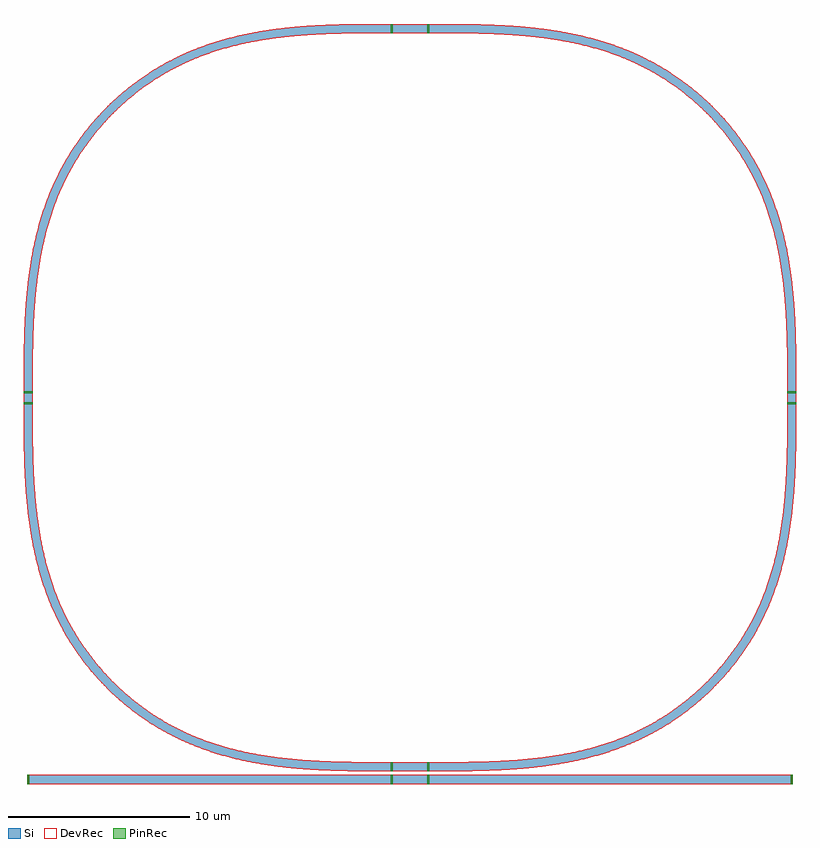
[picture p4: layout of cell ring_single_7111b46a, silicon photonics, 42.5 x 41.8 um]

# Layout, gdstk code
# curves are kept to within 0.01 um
from math import pi, radians
import gdstk
lib = gdstk.Library(unit=1e-6, precision=1e-09)
def R(c, l, rs):  # rectangles x0, y0, x1, y1
    for r in rs: c.add(gdstk.rectangle(r[:2], r[2:], *l))
def P(c, l, *ps):  # polygons
    for p in ps: c.add(gdstk.Polygon(p, *l))
Si = (1, 0)
PinRec = (1, 10)
DevRec = (68, 0)

bend_euler_d8d11220 = lib.new_cell('bend_euler_d8d11220')
P(bend_euler_d8d11220, Si, [(0,-0.25),(2.054,-0.241),(3.364,-0.21),(4.675,-0.142),(5.612,-0.063),(6.639,0.06),(7.663,0.228),(8.678,0.447),(9.499,0.669),(10.398,0.965),(11.193,1.279),(11.974,1.643),(12.731,2.052),(13.542,2.56),(14.241,3.061),(14.909,3.604),(15.68,4.32),(16.396,5.091),(16.939,5.759),(17.44,6.458),(17.948,7.269),(18.357,8.026),(18.721,8.807),(19.035,9.602),(19.331,10.501),(19.553,11.322),(19.772,12.337),(19.94,13.361),(20.063,14.388),(20.142,15.325),(20.21,16.636),(20.241,17.946),(20.25,20),(19.75,20),(19.74,17.86),(19.707,16.561),(19.643,15.359),(19.556,14.346),(19.445,13.43),(19.246,12.249),(19.045,11.352),(18.771,10.38),(18.469,9.514),(18.225,8.919),(17.784,8.005),(17.374,7.282),(16.974,6.661),(16.485,5.989),(15.957,5.348),(15.391,4.739),(14.859,4.228),(14.156,3.629),(13.491,3.131),(12.797,2.674),(11.995,2.216),(11.333,1.889),(10.571,1.564),(9.795,1.285),(8.915,1.024),(7.751,0.754),(6.57,0.555),(5.654,0.444),(4.641,0.357),(3.439,0.293),(2.14,0.26),(0,0.25)])
R(bend_euler_d8d11220, PinRec, [(-0.05,-0.25,0.05,0.25), (19.75,19.95,20.25,20.05)])
P(bend_euler_d8d11220, DevRec, [(0,-0.25),(2.054,-0.241),(3.364,-0.21),(4.675,-0.142),(5.612,-0.063),(6.639,0.06),(7.663,0.228),(8.678,0.447),(9.499,0.669),(10.398,0.965),(11.193,1.279),(11.974,1.643),(12.731,2.052),(13.542,2.56),(14.241,3.061),(14.909,3.604),(15.68,4.32),(16.396,5.091),(16.939,5.759),(17.44,6.458),(17.948,7.269),(18.357,8.026),(18.721,8.807),(19.035,9.602),(19.331,10.501),(19.553,11.322),(19.772,12.337),(19.94,13.361),(20.063,14.388),(20.142,15.325),(20.21,16.636),(20.241,17.946),(20.25,20),(19.75,20),(19.74,17.86),(19.707,16.561),(19.643,15.359),(19.556,14.346),(19.445,13.43),(19.246,12.249),(19.045,11.352),(18.771,10.38),(18.469,9.514),(18.225,8.919),(17.784,8.005),(17.374,7.282),(16.974,6.661),(16.485,5.989),(15.957,5.348),(15.391,4.739),(14.859,4.228),(14.156,3.629),(13.491,3.131),(12.797,2.674),(11.995,2.216),(11.333,1.889),(10.571,1.564),(9.795,1.285),(8.915,1.024),(7.751,0.754),(6.57,0.555),(5.654,0.444),(4.641,0.357),(3.439,0.293),(2.14,0.26),(0,0.25)])
bend_euler_d8d11220.add(gdstk.FlexPath([(0.05,0),(-0.05,0)], 0.5, ends="flush", simple_path=True, layer=1, datatype=10))  # PinRec
bend_euler_d8d11220.add(gdstk.FlexPath([(20,19.95),(20,20.05)], 0.5, ends="flush", simple_path=True, layer=1, datatype=10))  # PinRec
bend_euler_d8d11220.add(gdstk.Label('o1', (0,0), layer=1, texttype=10))
bend_euler_d8d11220.add(gdstk.Label('o2', (20,20), layer=1, texttype=10))

straight_870620aa = lib.new_cell('straight_870620aa')
R(straight_870620aa, Si, [(0,-0.25,20,0.25)])
R(straight_870620aa, PinRec, [(-0.05,-0.25,0.05,0.25), (19.95,-0.25,20.05,0.25)])
R(straight_870620aa, DevRec, [(0,-0.25,20,0.25)])
straight_870620aa.add(gdstk.FlexPath([(0.05,0),(-0.05,0)], 0.5, ends="flush", simple_path=True, layer=1, datatype=10))  # PinRec
straight_870620aa.add(gdstk.FlexPath([(19.95,0),(20.05,0)], 0.5, ends="flush", simple_path=True, layer=1, datatype=10))  # PinRec
straight_870620aa.add(gdstk.Label('o1', (0,0), layer=1, texttype=10))
straight_870620aa.add(gdstk.Label('o2', (20,0), layer=1, texttype=10))

coupler90_f68097b0 = lib.new_cell('coupler90_f68097b0')
coupler90_f68097b0.add(gdstk.Reference(bend_euler_d8d11220, (0,0.7)))
coupler90_f68097b0.add(gdstk.Reference(straight_870620aa, (0,0)))

straight_fba69bc3 = lib.new_cell('straight_fba69bc3')
R(straight_fba69bc3, Si, [(0,-0.25,2,0.25)])
R(straight_fba69bc3, PinRec, [(-0.05,-0.25,0.05,0.25), (1.95,-0.25,2.05,0.25)])
R(straight_fba69bc3, DevRec, [(0,-0.25,2,0.25)])
straight_fba69bc3.add(gdstk.FlexPath([(0.05,0),(-0.05,0)], 0.5, ends="flush", simple_path=True, layer=1, datatype=10))  # PinRec
straight_fba69bc3.add(gdstk.FlexPath([(1.95,0),(2.05,0)], 0.5, ends="flush", simple_path=True, layer=1, datatype=10))  # PinRec
straight_fba69bc3.add(gdstk.Label('o1', (0,0), layer=1, texttype=10))
straight_fba69bc3.add(gdstk.Label('o2', (2,0), layer=1, texttype=10))

coupler_straight_9b1c218 = lib.new_cell('coupler_straight_9b1c218f')
coupler_straight_9b1c218.add(gdstk.Reference(straight_fba69bc3, (0,0.7)))
coupler_straight_9b1c218.add(gdstk.Reference(straight_fba69bc3, (0,0)))

coupler_ring_ecf7126d = lib.new_cell('coupler_ring_ecf7126d')
coupler_ring_ecf7126d.add(gdstk.Reference(coupler90_f68097b0, (-2,0), rotation=pi, x_reflection=True))
coupler_ring_ecf7126d.add(gdstk.Reference(coupler90_f68097b0, (0,0)))
coupler_ring_ecf7126d.add(gdstk.Reference(coupler_straight_9b1c218, (-2,0)))

straight_c1e7b81b = lib.new_cell('straight_c1e7b81b')
R(straight_c1e7b81b, Si, [(0,-0.25,0.6,0.25)])
R(straight_c1e7b81b, PinRec, [(-0.05,-0.25,0.05,0.25), (0.55,-0.25,0.65,0.25)])
R(straight_c1e7b81b, DevRec, [(0,-0.25,0.6,0.25)])
straight_c1e7b81b.add(gdstk.FlexPath([(0.05,0),(-0.05,0)], 0.5, ends="flush", simple_path=True, layer=1, datatype=10))  # PinRec
straight_c1e7b81b.add(gdstk.FlexPath([(0.55,0),(0.65,0)], 0.5, ends="flush", simple_path=True, layer=1, datatype=10))  # PinRec
straight_c1e7b81b.add(gdstk.Label('o1', (0,0), layer=1, texttype=10))
straight_c1e7b81b.add(gdstk.Label('o2', (0.6,0), layer=1, texttype=10))

ring_single_7111b46a = lib.new_cell('ring_single_7111b46a')
ring_single_7111b46a.add(gdstk.Reference(coupler_ring_ecf7126d, (0,0)))
ring_single_7111b46a.add(gdstk.Reference(straight_c1e7b81b, (-22,20.7), rotation=pi/2))
ring_single_7111b46a.add(gdstk.Reference(straight_c1e7b81b, (20,21.3), rotation=3*pi/2))
ring_single_7111b46a.add(gdstk.Reference(bend_euler_d8d11220, (-2,41.3), rotation=pi))
ring_single_7111b46a.add(gdstk.Reference(bend_euler_d8d11220, (20,21.3), rotation=pi/2))
ring_single_7111b46a.add(gdstk.Reference(straight_fba69bc3, (0,41.3), rotation=pi))

lib.write_gds('ring_single_7111b46a.gds')
